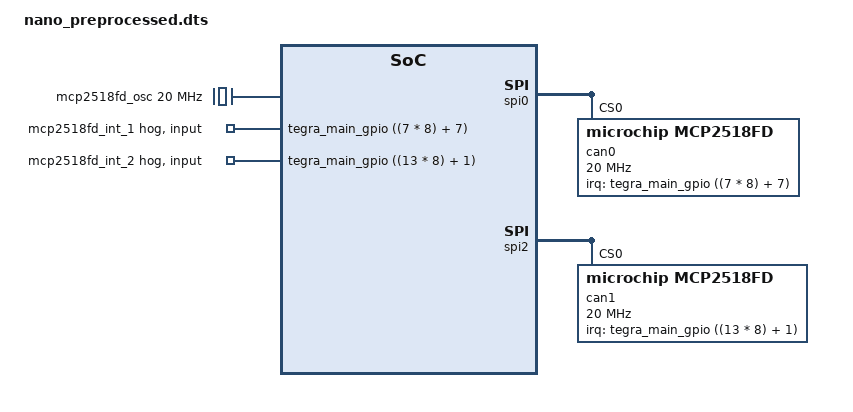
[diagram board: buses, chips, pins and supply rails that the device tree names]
# 1 "./nano/nano_mcp251xfd_overlay.dts"
# 1 "<built-in>"
# 1 "<command-line>"
# 1 "./nano/nano_mcp251xfd_overlay.dts"
# 11 "./nano/nano_mcp251xfd_overlay.dts"
/dts-v1/;
/plugin/;

# 1 "./tegra/kernel-include/dt-common/jetson/tegra234-p3767-0000-common.h" 1
# 17 "./tegra/kernel-include/dt-common/jetson/tegra234-p3767-0000-common.h"
# 1 "./tegra/kernel-include/dt-bindings/gpio/tegra234-gpio.h" 1
# 20 "./tegra/kernel-include/dt-bindings/gpio/tegra234-gpio.h"
# 1 "./tegra/kernel-include/dt-bindings/gpio/gpio.h" 1
# 21 "./tegra/kernel-include/dt-bindings/gpio/tegra234-gpio.h" 2
# 18 "./tegra/kernel-include/dt-common/jetson/tegra234-p3767-0000-common.h" 2
# 15 "./nano/nano_mcp251xfd_overlay.dts" 2
# 1 "./tegra/kernel-include/dt-bindings/pinctrl/pinctrl-tegra.h" 1
# 16 "./nano/nano_mcp251xfd_overlay.dts" 2
# 1 "./tegra/kernel-include/dt-bindings/gpio/tegra-gpio.h" 1
# 17 "./nano/nano_mcp251xfd_overlay.dts" 2
# 1 "./tegra/kernel-include/dt-bindings/interrupt-controller/irq.h" 1
# 18 "./nano/nano_mcp251xfd_overlay.dts" 2




/ {
 overlay-name = "Westwell MCP2518FD";
 jetson-header-name = "Jetson 40pin Header";
 compatible = "nvidia,p3768-0000+p3767-0000", "nvidia,p3768-0000+p3767-0001", "nvidia,p3768-0000+p3767-0003", "nvidia,p3768-0000+p3767-0004", "nvidia,p3768-0000+p3767-0005", "nvidia,p3509-0000+p3767-0000", "nvidia,p3509-0000+p3767-0001", "nvidia,p3509-0000+p3767-0003", "nvidia,p3509-0000+p3767-0004", "nvidia,p3509-0000+p3767-0005";

 fragment@0 {
  target-path = "/spi@3210000/spi@0";
  __overlay__ {
   status = "disabled";
  };
 };

 fragment@1{
  target-path = "/spi@3210000/spi@1";
  __overlay__ {
   status = "disabled";
  };
 };

 fragment@2 {
  target-path = "/";
  __overlay__ {
   clocks {
    mcp2518fd_osc: mcp2518fd_osc {
     compatible = "fixed-clock";
     #clock-cells = <0x0>;
     clock-frequency = <20000000>;
     clock-accuracy = <10>;
     clock-output-names = "mcp2518fd_osc";
     status = "okay";
    };
   };
  };
 };

 fragment@3 {
  target = <&spi0>;
  __overlay__ {

   #address-cells = <1>;
   #size-cells = <0>;
   can0: can@0 {
    compatible = "microchip,mcp2518fd";
    status = "okay";

    reg = <0x0>;
    clocks = <&mcp2518fd_osc>;
    interrupt-parent = <&tegra_main_gpio>;
    interrupts = <((7 * 8) + 7) 0x00000008>;
    spi-max-frequency = <20000000>;
    pinctrl-names = "default";
       pinctrl-0 = <&mcp251xfd_spi>;
    controller-data {
     nvidia,enable-hw-based-cs;
     nvidia,cs-setup-clk-count = <0x1e>;
     nvidia,cs-hold-clk-count = <0x1e>;
     nvidia,rx-clk-tap-delay = <0x1f>;
     nvidia,tx-clk-tap-delay = <0x0>;
    };
   };
  };
 };

 fragment@4 {
  target = <&pinmux>;
  __overlay__ {
   mcp251xfd_spi: exp-header-pinmux {

    hdr40-pin19 {
     nvidia,pins = "spi1_mosi_pz5";
     nvidia,function = "spi1";
     nvidia,pull = <1>;
     nvidia,tristate = <0>;
     nvidia,enable-input = <0>;
    };
    hdr40-pin21 {
     nvidia,pins = "spi1_miso_pz4";
     nvidia,function = "spi1";
     nvidia,pull = <1>;
     nvidia,tristate = <0>;
     nvidia,enable-input = <1>;
    };
    hdr40-pin23 {
     nvidia,pins = "spi1_sck_pz3";
     nvidia,function = "spi1";
     nvidia,pull = <1>;
     nvidia,tristate = <0>;
     nvidia,enable-input = <0>;
    };

    hdr40-pin24 {
     nvidia,pins = "spi1_cs0_pz6";
     nvidia,function = "spi1";
     nvidia,pull = <0>;
     nvidia,tristate = <0>;
     nvidia,enable-input = <0>;
    };

    hdr40-pin26 {
     nvidia,pins = "spi1_cs1_pz7";
     nvidia,function = "spi1";
     nvidia,pull = <0>;
     nvidia,tristate = <0>;
     nvidia,enable-input = <0>;
    };

    hdr40-pin37 {
     nvidia,pins = "spi3_mosi_py2";
     nvidia,function = "spi3";
     nvidia,pull = <1>;
     nvidia,tristate = <0>;
     nvidia,enable-input = <0>;
    };
    hdr40-pin22 {
     nvidia,pins = "spi3_miso_py1";
     nvidia,function = "spi3";
     nvidia,pull = <1>;
     nvidia,tristate = <0>;
     nvidia,enable-input = <1>;
    };
    hdr40-pin13 {
     nvidia,pins = "spi3_sck_py0";
     nvidia,function = "spi3";
     nvidia,pull = <1>;
     nvidia,tristate = <0>;
     nvidia,enable-input = <0>;
    };

    hdr40-pin16 {
     nvidia,pins = "spi3_cs1_py4";
     nvidia,function = "spi3";
     nvidia,pull = <0>;
     nvidia,tristate = <0>;
     nvidia,enable-input = <0>;
    };

    hdr40-pin18 {
     nvidia,pins = "spi3_cs0_py3";
     nvidia,function = "spi3";
     nvidia,pull = <0>;
     nvidia,tristate = <0>;
     nvidia,enable-input = <0>;
    };
   };
  };
 };

 fragment@5 {
  target = <&tegra_main_gpio>;
  __overlay__ {

   mcp2518fd_int_1 {
    gpio-hog;
    input;
    gpios = <((7 * 8) + 7) 0>;
    label = "mcp2518fd_int_1";
   };
   mcp2518fd_int_2 {
    gpio-hog;
    input;
    gpios = <((13 * 8) + 1) 0>;
    label = "mcp2518fd_int_2";
   };
  };
 };

 fragment@6 {
  target-path = "/spi@3230000/spi@0";
  __overlay__ {
   status = "disabled";
  };
 };

 fragment@7{
  target-path = "/spi@3230000/spi@1";
  __overlay__ {
   status = "disabled";
  };
 };

 fragment@8 {
  target = <&spi2>;
  __overlay__ {

   #address-cells = <1>;
   #size-cells = <0>;
   can1: can@0 {
    compatible = "microchip,mcp2518fd";
    status = "okay";

    reg = <0x0>;
    clocks = <&mcp2518fd_osc>;
    interrupt-parent = <&tegra_main_gpio>;
    interrupts = <((13 * 8) + 1) 0x00000008>;
    spi-max-frequency = <20000000>;
    controller-data {
     nvidia,enable-hw-based-cs;
     nvidia,cs-setup-clk-count = <0x1e>;
     nvidia,cs-hold-clk-count = <0x1e>;
     nvidia,rx-clk-tap-delay = <0x1f>;
     nvidia,tx-clk-tap-delay = <0x0>;
    };
   };
  };
 };


};
